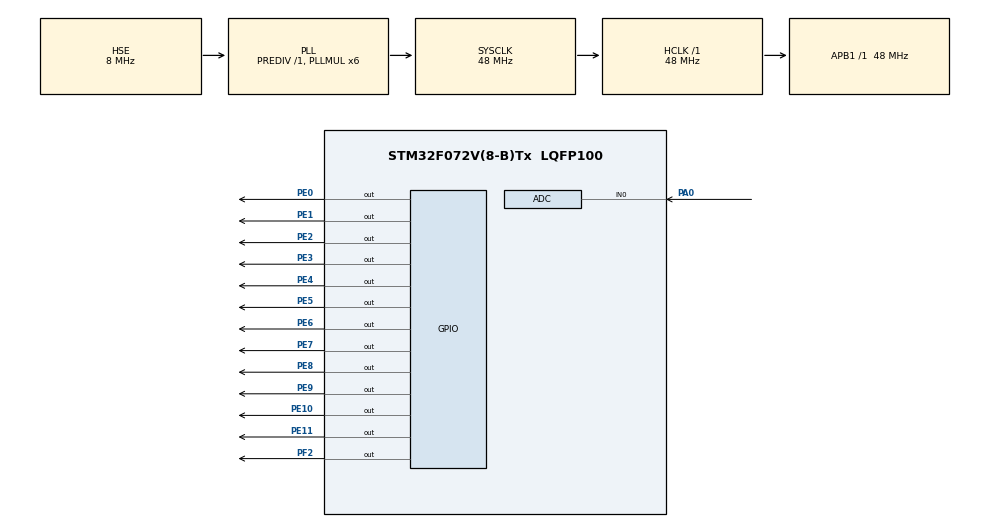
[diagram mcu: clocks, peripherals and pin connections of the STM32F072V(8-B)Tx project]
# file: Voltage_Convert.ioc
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Mcu.Family=STM32F0
Mcu.Name=STM32F072V(8-B)Tx
Mcu.Package=LQFP100
PA0.Mode=IN0
PA0.Signal=ADC_IN0
PE0.Signal=GPIO_Output
PE1.Signal=GPIO_Output
PE10.Signal=GPIO_Output
PE11.Signal=GPIO_Output
PE2.Signal=GPIO_Output
PE3.Signal=GPIO_Output
PE4.Signal=GPIO_Output
PE5.Signal=GPIO_Output
PE6.Signal=GPIO_Output
PE7.Signal=GPIO_Output
PE8.Signal=GPIO_Output
PE9.Signal=GPIO_Output
PF0-OSC_IN.Mode=HSE-External-Oscillator
PF0-OSC_IN.Signal=RCC_OSC_IN
PF1-OSC_OUT.Mode=HSE-External-Oscillator
PF1-OSC_OUT.Signal=RCC_OSC_OUT
PF2.Signal=GPIO_Output
ProjectManager.HeapSize=0x200
ProjectManager.StackSize=0x400
ProjectManager.TargetToolchain=MDK-ARM V5
RCC.AHBFreq_Value=48000000
RCC.APB1Freq_Value=48000000
RCC.APB1TimFreq_Value=48000000
RCC.HCLKFreq_Value=48000000
RCC.HSIState=RCC_HSI_ON
RCC.PLLMUL=RCC_PLL_MUL6
RCC.PLLSourceVirtual=RCC_PLLSOURCE_HSE
RCC.SYSCLKFreq_VALUE=48000000
RCC.SYSCLKSource=RCC_SYSCLKSOURCE_PLLCLK
board=Voltage_Convert

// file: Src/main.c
/**
  ******************************************************************************
  * File Name          : main.c
  * Description        : Main program body
  ******************************************************************************
  *
  * COPYRIGHT(c) 2018 STMicroelectronics
  *
  * Redistribution and use in source and binary forms, with or without modification,
  * are permitted provided that the following conditions are met:
  *   1. Redistributions of source code must retain the above copyright notice,
  *      this list of conditions and the following disclaimer.
  *   2. Redistributions in binary form must reproduce the above copyright notice,
  *      this list of conditions and the following disclaimer in the documentation
  *      and/or other materials provided with the distribution.
  *   3. Neither the name of STMicroelectronics nor the names of its contributors
  *      may be used to endorse or promote products derived from this software
  *      without specific prior written permission.
  *
  * THIS SOFTWARE IS PROVIDED BY THE COPYRIGHT HOLDERS AND CONTRIBUTORS "AS IS"
  * AND ANY EXPRESS OR IMPLIED WARRANTIES, INCLUDING, BUT NOT LIMITED TO, THE
  * IMPLIED WARRANTIES OF MERCHANTABILITY AND FITNESS FOR A PARTICULAR PURPOSE ARE
  * DISCLAIMED. IN NO EVENT SHALL THE COPYRIGHT HOLDER OR CONTRIBUTORS BE LIABLE
  * FOR ANY DIRECT, INDIRECT, INCIDENTAL, SPECIAL, EXEMPLARY, OR CONSEQUENTIAL
  * DAMAGES (INCLUDING, BUT NOT LIMITED TO, PROCUREMENT OF SUBSTITUTE GOODS OR
  * SERVICES; LOSS OF USE, DATA, OR PROFITS; OR BUSINESS INTERRUPTION) HOWEVER
  * CAUSED AND ON ANY THEORY OF LIABILITY, WHETHER IN CONTRACT, STRICT LIABILITY,
  * OR TORT (INCLUDING NEGLIGENCE OR OTHERWISE) ARISING IN ANY WAY OUT OF THE USE
  * OF THIS SOFTWARE, EVEN IF ADVISED OF THE POSSIBILITY OF SUCH DAMAGE.
  *
  ******************************************************************************
  */
#include "stm32f0xx_hal.h"

ADC_HandleTypeDef hadc;

/* USER CODE BEGIN PV */
/* Private variables ---------------------------------------------------------*/
ADC_HandleTypeDef hadc;        /* 定义ADC_HandleTypeDef类型变量 */
HAL_StatusTypeDef status;      /* 定义HAL_StatusTypeDef类型变量 */
uint32_t  seg_number;          /* 定义数码管显示变量 */

/* USER CODE END PV */

void SystemClock_Config(void);
void Error_Handler(void);
static void MX_GPIO_Init(void);
static void MX_ADC_Init(void);

/* USER CODE BEGIN PFP */
/* Private function prototypes -----------------------------------------------*/
void SEG_Display(uint32_t num);              /* 数码管显示函数  */
uint32_t ADC_Change_Val(uint32_t CONV_DATA); /* ADC数值转换函数 */

/* USER CODE END PFP */

/* USER CODE BEGIN 0 */
const uint8_t table0[]= {0x3f,0x06,0x5b,0x4f,0x66,0x6d,0x7d,0x07,0x7f,0x6f};  /* 共阴（无点）*/
const uint8_t table1[]= {0xbf,0x86,0xdb,0xcf,0xe6,0xed,0xfd,0x87,0xff,0xef};  /* 共阴（有点）*/

/* USER CODE END 0 */

int main(void)
{

  /* MCU Configuration----------------------------------------------------------*/

  /* Reset of all peripherals, Initializes the Flash interface and the Systick. */
  HAL_Init();

  /* Configure the system clock */
  SystemClock_Config();

  /* Initialize all configured peripherals */
  MX_GPIO_Init();
  MX_ADC_Init();

  /* USER CODE BEGIN 2 */
	/* ADC校准 */
	status = HAL_ADCEx_Calibration_Start ( &hadc );
  /* 检查状态 */
	while(status!=0x00)
	{
		/* 错误处理 */
		Error_Handler();
	}

  /* USER CODE END 2 */

  /* Infinite loop */
  /* USER CODE BEGIN WHILE */
  while (1)
  {
		/* 启动A/D转换 */
		status = HAL_ADC_Start ( &hadc );
		/* 检查状态 */
		while(status!=0x00)
		{
			/* 错误处理 */
			Error_Handler();
		}
		/* 等待规则组转换完成 */
		status = HAL_ADC_PollForConversion	( &hadc,3);
		/* 检查状态 */
		while(status!=0x00)
		{
			/* 错误处理 */
			Error_Handler();
		}
		/* 获取ADC规则组转换结果 */
		seg_number = HAL_ADC_GetValue ( &hadc );
    /* 将数字量转换成电压值  */
		seg_number = ADC_Change_Val(seg_number);
		/* 将结果显示在数码管上  */
		SEG_Display(seg_number);

  /* USER CODE END WHILE */

  }

}

/** System Clock Configuration
*/
void SystemClock_Config(void)
{

  RCC_OscInitTypeDef RCC_OscInitStruct;
  RCC_ClkInitTypeDef RCC_ClkInitStruct;

  RCC_OscInitStruct.OscillatorType = RCC_OSCILLATORTYPE_HSI14|RCC_OSCILLATORTYPE_HSE;
  RCC_OscInitStruct.HSEState = RCC_HSE_ON;
  RCC_OscInitStruct.HSI14State = RCC_HSI14_ON;
  RCC_OscInitStruct.HSI14CalibrationValue = 16;
  RCC_OscInitStruct.PLL.PLLState = RCC_PLL_ON;
  RCC_OscInitStruct.PLL.PLLSource = RCC_PLLSOURCE_HSE;
  RCC_OscInitStruct.PLL.PLLMUL = RCC_PLL_MUL6;
  RCC_OscInitStruct.PLL.PREDIV = RCC_PREDIV_DIV1;
  if (HAL_RCC_OscConfig(&RCC_OscInitStruct) != HAL_OK)
  {
    Error_Handler();
  }

  RCC_ClkInitStruct.ClockType = RCC_CLOCKTYPE_HCLK|RCC_CLOCKTYPE_SYSCLK
                              |RCC_CLOCKTYPE_PCLK1;
  RCC_ClkInitStruct.SYSCLKSource = RCC_SYSCLKSOURCE_PLLCLK;
  RCC_ClkInitStruct.AHBCLKDivider = RCC_SYSCLK_DIV1;
  RCC_ClkInitStruct.APB1CLKDivider = RCC_HCLK_DIV1;
  if (HAL_RCC_ClockConfig(&RCC_ClkInitStruct, FLASH_LATENCY_1) != HAL_OK)
  {
    Error_Handler();
  }

  HAL_SYSTICK_Config(HAL_RCC_GetHCLKFreq()/1000);

  HAL_SYSTICK_CLKSourceConfig(SYSTICK_CLKSOURCE_HCLK);

  /* SysTick_IRQn interrupt configuration */
  HAL_NVIC_SetPriority(SysTick_IRQn, 0, 0);
}

/* ADC init function */
static void MX_ADC_Init(void)
{

  ADC_ChannelConfTypeDef sConfig;

    /**Configure the global features of the ADC (Clock, Resolution, Data Alignment and number of conversion)
    */
  hadc.Instance = ADC1;
  hadc.Init.ClockPrescaler = ADC_CLOCK_ASYNC_DIV1;
  hadc.Init.Resolution = ADC_RESOLUTION_12B;
  hadc.Init.DataAlign = ADC_DATAALIGN_RIGHT;
  hadc.Init.ScanConvMode = ADC_SCAN_DIRECTION_FORWARD;
  hadc.Init.EOCSelection = ADC_EOC_SINGLE_CONV;
  hadc.Init.LowPowerAutoWait = DISABLE;
  hadc.Init.LowPowerAutoPowerOff = DISABLE;
  hadc.Init.ContinuousConvMode = DISABLE;
  hadc.Init.DiscontinuousConvMode = DISABLE;
  hadc.Init.ExternalTrigConvEdge = ADC_EXTERNALTRIGCONVEDGE_NONE;
  hadc.Init.DMAContinuousRequests = DISABLE;
  hadc.Init.Overrun = ADC_OVR_DATA_PRESERVED;
  if (HAL_ADC_Init(&hadc) != HAL_OK)
  {
    Error_Handler();
  }

    /**Configure for the selected ADC regular channel to be converted.
    */
  sConfig.Channel = ADC_CHANNEL_0;
  sConfig.Rank = ADC_RANK_CHANNEL_NUMBER;
  sConfig.SamplingTime = ADC_SAMPLETIME_1CYCLE_5;
  if (HAL_ADC_ConfigChannel(&hadc, &sConfig) != HAL_OK)
  {
    Error_Handler();
  }

}

/** Configure pins as
        * Analog
        * Input
        * Output
        * EVENT_OUT
        * EXTI
*/
static void MX_GPIO_Init(void)
{

  GPIO_InitTypeDef GPIO_InitStruct;

  /* GPIO Ports Clock Enable */
  __HAL_RCC_GPIOE_CLK_ENABLE();
  __HAL_RCC_GPIOF_CLK_ENABLE();
  __HAL_RCC_GPIOA_CLK_ENABLE();

  /*Configure GPIO pin Output Level */
  HAL_GPIO_WritePin(GPIOE, GPIO_PIN_2|GPIO_PIN_3|GPIO_PIN_4|GPIO_PIN_5
                          |GPIO_PIN_6|GPIO_PIN_7|GPIO_PIN_8|GPIO_PIN_9
                          |GPIO_PIN_10|GPIO_PIN_11|GPIO_PIN_0|GPIO_PIN_1, GPIO_PIN_RESET);

  /*Configure GPIO pin Output Level */
  HAL_GPIO_WritePin(GPIOF, GPIO_PIN_2, GPIO_PIN_RESET);

  /*Configure GPIO pins : PE2 PE3 PE4 PE5
                           PE6 PE7 PE8 PE9
                           PE10 PE11 PE0 PE1 */
  GPIO_InitStruct.Pin = GPIO_PIN_2|GPIO_PIN_3|GPIO_PIN_4|GPIO_PIN_5
                          |GPIO_PIN_6|GPIO_PIN_7|GPIO_PIN_8|GPIO_PIN_9
                          |GPIO_PIN_10|GPIO_PIN_11|GPIO_PIN_0|GPIO_PIN_1;
  GPIO_InitStruct.Mode = GPIO_MODE_OUTPUT_PP;
  GPIO_InitStruct.Pull = GPIO_NOPULL;
  GPIO_InitStruct.Speed = GPIO_SPEED_FREQ_LOW;
  HAL_GPIO_Init(GPIOE, &GPIO_InitStruct);

  /*Configure GPIO pin : PF2 */
  GPIO_InitStruct.Pin = GPIO_PIN_2;
  GPIO_InitStruct.Mode = GPIO_MODE_OUTPUT_PP;
  GPIO_InitStruct.Pull = GPIO_NOPULL;
  GPIO_InitStruct.Speed = GPIO_SPEED_FREQ_LOW;
  HAL_GPIO_Init(GPIOF, &GPIO_InitStruct);

}

/* USER CODE BEGIN 4 */

/*  数码管显示函数  */
void SEG_Display(uint32_t num)
{
	/* 取出四位数显示值 */
  uint8_t GeWei,ShiWei,BaiWei,QianWei;
	GeWei   = (uint8_t)(num%10);
	ShiWei  = (uint8_t)(num%100/10);
	BaiWei  = (uint8_t)(num%1000/100);
	QianWei = (uint8_t)(num/1000);

	/* 使能数码管位驱动  */
	HAL_GPIO_WritePin(GPIOF,GPIO_PIN_2,GPIO_PIN_RESET);

	/* 显示个位 */
	GPIOE->ODR |= (uint16_t)(table0[GeWei]);
	/* 使能个位 */
	HAL_GPIO_WritePin(GPIOE,GPIO_PIN_9|GPIO_PIN_10|GPIO_PIN_11,GPIO_PIN_SET);
	HAL_GPIO_WritePin(GPIOE,GPIO_PIN_8,GPIO_PIN_RESET);
	HAL_Delay(3);
	/* 消隐 */
  GPIOE->ODR &= 0xFF00;
	GPIOE->ODR |= 0x0F00;
	HAL_Delay(1);

	/* 显示十位 */
	GPIOE->ODR |= (uint16_t)(table0[ShiWei]);
	/* 使能十位 */
	HAL_GPIO_WritePin(GPIOE,GPIO_PIN_8|GPIO_PIN_10|GPIO_PIN_11,GPIO_PIN_SET);
	HAL_GPIO_WritePin(GPIOE,GPIO_PIN_9,GPIO_PIN_RESET);
	HAL_Delay(3);
	/* 消隐 */
  GPIOE->ODR &= 0xFF00;
	GPIOE->ODR |= 0x0F00;
	HAL_Delay(1);

	/* 显示百位 */
	GPIOE->ODR |= (uint16_t)(table0[BaiWei]);
	/* 使能百位 */
	HAL_GPIO_WritePin(GPIOE,GPIO_PIN_8|GPIO_PIN_9|GPIO_PIN_11,GPIO_PIN_SET);
	HAL_GPIO_WritePin(GPIOE,GPIO_PIN_10,GPIO_PIN_RESET);
	HAL_Delay(3);
	/* 消隐 */
  GPIOE->ODR &= 0xFF00;
	GPIOE->ODR |= 0x0F00;
	HAL_Delay(1);

	/* 显示千位 */
	GPIOE->ODR |= (uint16_t)(table0[QianWei]);
	/* 使能千位 */
	HAL_GPIO_WritePin(GPIOE,GPIO_PIN_8|GPIO_PIN_9|GPIO_PIN_10,GPIO_PIN_SET);
	HAL_GPIO_WritePin(GPIOE,GPIO_PIN_11,GPIO_PIN_RESET);
	HAL_Delay(3);
	/* 消隐 */
  GPIOE->ODR &= 0xFF00;
	GPIOE->ODR |= 0x0F00;
	HAL_Delay(1);
}

/* ADC数值转换函数 */
uint32_t ADC_Change_Val(uint32_t CONV_DATA)
{
	/* 定义浮点型变量，用于计算电压值（0V~3V3） */
	float  VOLTAGE;
	/* 定义临时变量，保存转换结果 */
	uint32_t TEMP;
	/* 将转换结果赋值给浮点型变量（0-4095） */
  VOLTAGE = CONV_DATA;
	/* 数字量*（3.3/4096）*1000 = 扩大1千倍显示电压值（0000~3299） */
	VOLTAGE = VOLTAGE*33/40960*1000;
  /* 将浮点型数值转化为整型 */
	TEMP = VOLTAGE ;
	/* 返回转换结果 */
  return TEMP;
}

/* USER CODE END 4 */

void Error_Handler(void)
{
  while(1)
  {
  }
}

/************************ (C) COPYRIGHT STMicroelectronics *****END OF FILE****/
